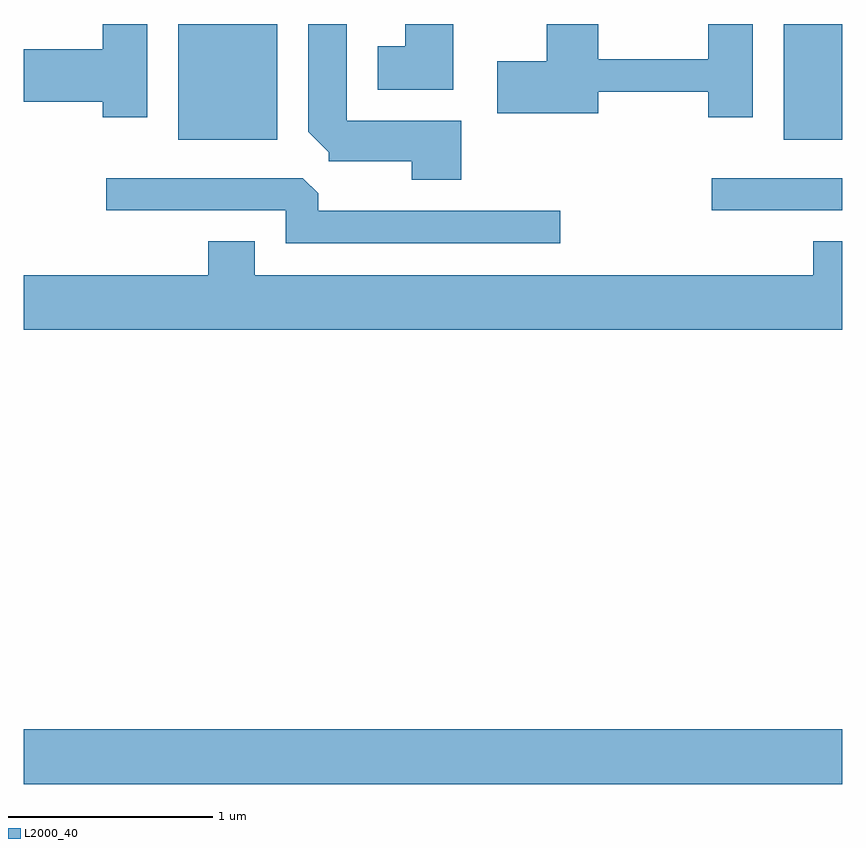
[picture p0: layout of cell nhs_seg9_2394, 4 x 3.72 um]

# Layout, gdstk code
import gdstk
lib = gdstk.Library(unit=1e-6, precision=1e-09)
def R(c, l, rs):  # rectangles x0, y0, x1, y1
    for r in rs: c.add(gdstk.rectangle(r[:2], r[2:], *l))
def P(c, l, *ps):  # polygons
    for p in ps: c.add(gdstk.Polygon(p, *l))
L2000_40 = (2000, 40)

nhs_seg9_2394 = lib.new_cell('nhs_seg9_2394')
R(nhs_seg9_2394, L2000_40, [(255.611,1980.716,259.611,1980.984), (258.973,1983.521,259.611,1983.679), (256.366,1983.866,256.849,1984.432), (259.326,1983.866,259.611,1984.432)])
P(nhs_seg9_2394, L2000_40, [(257.749,1983.959),(257.189,1983.959),(257.189,1984.432),(257.001,1984.432),(257.001,1983.904),(257.101,1983.804),(257.101,1983.761),(257.506,1983.761),(257.506,1983.671),(257.749,1983.671)],
  [(259.174,1984.432),(258.956,1984.432),(258.956,1984.259),(258.419,1984.259),(258.419,1984.432),(258.166,1984.432),(258.166,1984.249),(257.926,1984.249),(257.926,1983.996),(258.419,1983.996),(258.419,1984.101),(258.956,1984.101),(258.956,1983.976),(259.174,1983.976)],
  [(257.709,1984.432),(257.476,1984.432),(257.476,1984.324),(257.341,1984.324),(257.341,1984.111),(257.709,1984.111)],
  [(256.214,1984.432),(255.996,1984.432),(255.996,1984.309),(255.611,1984.309),(255.611,1984.051),(255.996,1984.051),(255.996,1983.976),(256.214,1983.976)],
  [(258.233,1983.519),(257.049,1983.519),(257.049,1983.604),(256.974,1983.679),(256.013,1983.679),(256.013,1983.521),(256.891,1983.521),(256.891,1983.361),(258.233,1983.361)],
  [(259.611,1983.369),(259.471,1983.369),(259.471,1983.204),(256.739,1983.204),(256.739,1983.369),(256.511,1983.369),(256.511,1983.204),(255.611,1983.204),(255.611,1982.936),(259.611,1982.936)])

lib.write_gds('nhs_seg9_2394.gds')
